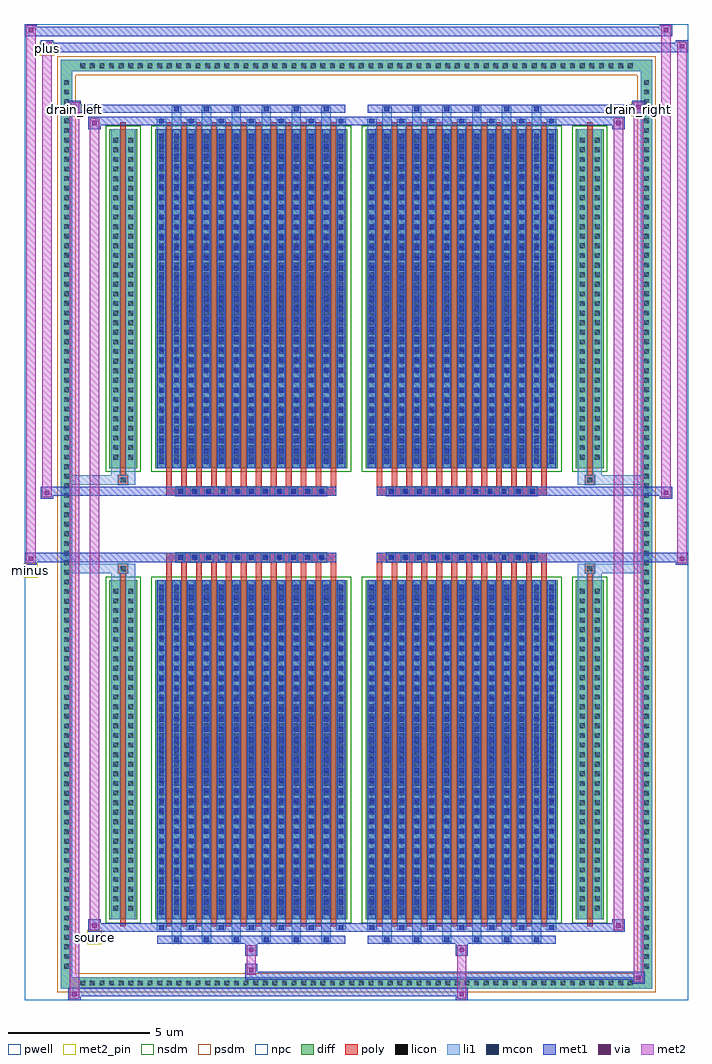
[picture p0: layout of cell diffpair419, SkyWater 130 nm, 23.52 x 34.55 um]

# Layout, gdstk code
import gdstk
lib = gdstk.Library(unit=1e-6, precision=5e-09)
def R(c, l, rs):  # rectangles x0, y0, x1, y1
    for r in rs: c.add(gdstk.rectangle(r[:2], r[2:], *l))
def A(c, l, x, y, w, h, nx, ny, dx, dy):  # array of equal rectangles
    R(c, l, [(x+i*dx, y+j*dy, x+i*dx+w, y+j*dy+h) for i in range(nx) for j in range(ny)])
def P(c, l, *ps):  # polygons
    for p in ps: c.add(gdstk.Polygon(p, *l))
pwell = (64, 44)
diff = (65, 20)
poly = (66, 20)
licon = (66, 44)
li1 = (67, 20)
mcon = (67, 44)
met1 = (68, 20)
via = (68, 44)
met2_pin = (69, 16)
met2 = (69, 20)
nsdm = (93, 44)
psdm = (94, 20)
npc = (95, 20)

diffpair419 = lib.new_cell('diffpair419')
R(diffpair419, pwell, [(-11.74,-16.84,11.74,17.71), (-9.06,-15.03,-0.01,-0.805), (0.01,-15.03,9.06,-0.805), (-9.06,0.805,-0.01,15.03), (0.01,0.805,9.06,15.03)])
A(diffpair419, diff, -9.895, -16.44, 0.41, 0.41, 58, 2, 0.34, 32.47)
A(diffpair419, diff, -10.47, -15.845, 0.41, 0.41, 1, 93, 0, 0.34)
A(diffpair419, diff, 10.06, -15.845, 0.41, 0.41, 1, 93, 0, 0.34)
R(diffpair419, diff, [(-9.895,-16.44,9.895,-16.03), (-10.47,-15.845,-10.06,15.845), (10.06,-15.845,10.47,15.845), (-8.75,-13.985,-7.77,-1.985), (-7.13,-13.985,-0.32,-1.985), (0.32,-13.985,7.13,-1.985), (7.77,-13.985,8.75,-1.985), (-8.75,1.985,-7.77,13.985), (-7.13,1.985,-0.32,13.985), (0.32,1.985,7.13,13.985), (7.77,1.985,8.75,13.985), (-9.895,16.03,9.895,16.44)])
P(diffpair419, diff, [(10.47,16.44),(-10.47,16.44),(-10.47,-16.03),(-10.06,-16.03),(-10.06,16.03),(10.06,16.03),(10.06,-16.03),(-10.06,-16.03),(-10.47,-16.03),(-10.47,-16.44),(10.47,-16.44)])
A(diffpair419, poly, -6.74, -14.235, 0.2, 12.5, 12, 2, 0.53, 15.97)
A(diffpair419, poly, 0.71, -14.235, 0.2, 12.5, 12, 2, 0.53, 15.97)
A(diffpair419, poly, -6.74, -1.735, 0.2, 0.4, 12, 2, 0.53, 3.07)
A(diffpair419, poly, 0.71, -1.735, 0.2, 0.4, 12, 2, 0.53, 3.07)
A(diffpair419, poly, -6.39, -1.335, 0.33, 0.33, 11, 2, 0.5, 2.34)
A(diffpair419, poly, 1.06, -1.335, 0.33, 0.33, 11, 2, 0.5, 2.34)
R(diffpair419, poly, [(-8.36,-14.235,-8.16,-1.735), (8.16,-14.235,8.36,-1.735), (-8.425,-1.735,-8.095,-1.405), (-8.425,-1.735,-8.095,-1.405), (8.095,-1.735,8.425,-1.405), (8.095,-1.735,8.425,-1.405), (-6.74,-1.335,-0.71,-1.005), (0.71,-1.335,6.74,-1.005), (-6.74,1.005,-0.71,1.335), (0.71,1.005,6.74,1.335), (-8.425,1.405,-8.095,1.735), (-8.425,1.405,-8.095,1.735), (8.095,1.405,8.425,1.735), (8.095,1.405,8.425,1.735), (-8.36,1.735,-8.16,14.235), (8.16,1.735,8.36,14.235)])
A(diffpair419, licon, -9.775, -16.32, 0.17, 0.17, 58, 2, 0.34, 32.47)
A(diffpair419, licon, -10.35, -15.725, 0.17, 0.17, 1, 93, 0, 0.34)
A(diffpair419, licon, 10.18, -15.725, 0.17, 0.17, 1, 93, 0, 0.34)
A(diffpair419, licon, -8.61, -13.68, 0.17, 0.17, 1, 34, 0, 0.34)
A(diffpair419, licon, -8.08, -13.68, 0.17, 0.17, 1, 34, 0, 0.34)
A(diffpair419, licon, -6.99, -13.68, 0.17, 0.17, 13, 34, 0.53, 0.34)
A(diffpair419, licon, 0.46, -13.68, 0.17, 0.17, 13, 34, 0.53, 0.34)
A(diffpair419, licon, 7.91, -13.68, 0.17, 0.17, 1, 34, 0, 0.34)
A(diffpair419, licon, 8.44, -13.68, 0.17, 0.17, 1, 34, 0, 0.34)
A(diffpair419, licon, -6.31, -1.255, 0.17, 0.17, 11, 2, 0.5, 2.34)
A(diffpair419, licon, 1.14, -1.255, 0.17, 0.17, 11, 2, 0.5, 2.34)
A(diffpair419, licon, -8.61, 2.29, 0.17, 0.17, 1, 34, 0, 0.34)
A(diffpair419, licon, -8.08, 2.29, 0.17, 0.17, 1, 34, 0, 0.34)
A(diffpair419, licon, -6.99, 2.29, 0.17, 0.17, 13, 34, 0.53, 0.34)
A(diffpair419, licon, 0.46, 2.29, 0.17, 0.17, 13, 34, 0.53, 0.34)
A(diffpair419, licon, 7.91, 2.29, 0.17, 0.17, 1, 34, 0, 0.34)
A(diffpair419, licon, 8.44, 2.29, 0.17, 0.17, 1, 34, 0, 0.34)
R(diffpair419, licon, [(-8.345,-1.655,-8.175,-1.485), (8.175,-1.655,8.345,-1.485), (-8.345,1.485,-8.175,1.655), (8.175,1.485,8.345,1.655)])
A(diffpair419, li1, -9.855, -16.4, 0.33, 0.33, 58, 2, 0.34, 32.47)
A(diffpair419, li1, -10.43, -15.805, 0.33, 0.33, 1, 93, 0, 0.34)
A(diffpair419, li1, 10.1, -15.805, 0.33, 0.33, 1, 93, 0, 0.34)
A(diffpair419, li1, -6.54, -14.79, 0.33, 0.805, 6, 2, 1.06, 28.775)
A(diffpair419, li1, -6.46, -14.79, 0.17, 0.17, 6, 2, 1.06, 29.41)
A(diffpair419, li1, 0.91, -14.79, 0.33, 0.805, 6, 2, 1.06, 28.775)
A(diffpair419, li1, 0.99, -14.79, 0.17, 0.17, 6, 2, 1.06, 29.41)
A(diffpair419, li1, -7.07, -14.36, 0.33, 0.375, 7, 2, 1.06, 28.345)
A(diffpair419, li1, -6.99, -14.36, 0.17, 0.17, 7, 2, 1.06, 28.55)
A(diffpair419, li1, 0.38, -14.36, 0.33, 0.375, 7, 2, 1.06, 28.345)
A(diffpair419, li1, 0.46, -14.36, 0.17, 0.17, 7, 2, 1.06, 28.55)
A(diffpair419, li1, -7.07, -13.985, 0.33, 12, 13, 2, 0.53, 15.97)
A(diffpair419, li1, 0.38, -13.985, 0.33, 12, 13, 2, 0.53, 15.97)
A(diffpair419, li1, -6.99, -13.83, 0.17, 0.17, 13, 33, 0.53, 0.36)
A(diffpair419, li1, -6.99, -13.83, 0.17, 11.69, 13, 2, 0.53, 15.97)
A(diffpair419, li1, 0.46, -13.83, 0.17, 0.17, 13, 33, 0.53, 0.36)
A(diffpair419, li1, 0.46, -13.83, 0.17, 11.69, 13, 2, 0.53, 15.97)
A(diffpair419, li1, -8.69, -13.76, 0.33, 0.33, 1, 34, 0, 0.34)
A(diffpair419, li1, -8.16, -13.76, 0.33, 0.33, 1, 34, 0, 0.34)
A(diffpair419, li1, -7.07, -13.76, 0.33, 0.33, 13, 34, 0.53, 0.34)
A(diffpair419, li1, 0.38, -13.76, 0.33, 0.33, 13, 34, 0.53, 0.34)
A(diffpair419, li1, 7.83, -13.76, 0.33, 0.33, 1, 34, 0, 0.34)
A(diffpair419, li1, 8.36, -13.76, 0.33, 0.33, 1, 34, 0, 0.34)
A(diffpair419, li1, -6.39, -1.335, 0.33, 0.33, 11, 2, 0.5, 2.34)
A(diffpair419, li1, 1.06, -1.335, 0.33, 0.33, 11, 2, 0.5, 2.34)
A(diffpair419, li1, -6.99, 2.14, 0.17, 0.17, 13, 33, 0.53, 0.36)
A(diffpair419, li1, 0.46, 2.14, 0.17, 0.17, 13, 33, 0.53, 0.36)
A(diffpair419, li1, -8.69, 2.21, 0.33, 0.33, 1, 34, 0, 0.34)
A(diffpair419, li1, -8.16, 2.21, 0.33, 0.33, 1, 34, 0, 0.34)
A(diffpair419, li1, -7.07, 2.21, 0.33, 0.33, 13, 34, 0.53, 0.34)
A(diffpair419, li1, 0.38, 2.21, 0.33, 0.33, 13, 34, 0.53, 0.34)
A(diffpair419, li1, 7.83, 2.21, 0.33, 0.33, 1, 34, 0, 0.34)
A(diffpair419, li1, 8.36, 2.21, 0.33, 0.33, 1, 34, 0, 0.34)
R(diffpair419, li1, [(-10.47,-16.44,-10.06,-16.03), (-10.47,-16.44,-10.06,-16.03), (-10.06,-16.44,10.06,-16.03), (10.06,-16.44,10.47,-16.03), (10.06,-16.44,10.47,-16.03), (-10.47,-16.03,-10.06,16.03), (10.06,-16.03,10.47,16.03), (-8.69,-13.985,-8.36,-1.985), (-8.16,-13.985,-7.83,-1.985), (7.83,-13.985,8.16,-1.985), (8.36,-13.985,8.69,-1.985), (-8.69,-1.985,-8.36,-1.405), (-8.16,-1.985,-7.83,-1.405), (7.83,-1.985,8.16,-1.405), (8.36,-1.985,8.69,-1.405), (-10.47,-1.735,-8.425,-1.405), (-8.69,-1.735,-8.425,-1.405), (-8.425,-1.735,-8.095,-1.405), (-8.095,-1.735,-7.83,-1.405), (7.83,-1.735,8.095,-1.405), (8.095,-1.735,8.425,-1.405), (8.095,-1.735,10.47,-1.405), (8.425,-1.735,8.69,-1.405), (-10.47,1.405,-8.425,1.735), (-8.69,1.405,-8.425,1.735), (-8.69,1.405,-8.36,1.985), (-8.425,1.405,-8.095,1.735), (-8.16,1.405,-7.83,1.985), (-8.095,1.405,-7.83,1.735), (7.83,1.405,8.095,1.735), (7.83,1.405,8.16,1.985), (8.095,1.405,8.425,1.735), (8.095,1.405,10.47,1.735), (8.36,1.405,8.69,1.985), (8.425,1.405,8.69,1.735), (-8.69,1.985,-8.36,13.985), (-8.16,1.985,-7.83,13.985), (7.83,1.985,8.16,13.985), (8.36,1.985,8.69,13.985), (-10.47,16.03,-10.06,16.44), (-10.47,16.03,-10.06,16.44), (-10.06,16.03,10.06,16.44), (10.06,16.03,10.47,16.44), (10.06,16.03,10.47,16.44)])
A(diffpair419, mcon, -6.46, -14.79, 0.17, 0.17, 6, 2, 1.06, 29.41)
A(diffpair419, mcon, 0.99, -14.79, 0.17, 0.17, 6, 2, 1.06, 29.41)
A(diffpair419, mcon, -6.99, -14.36, 0.17, 0.17, 7, 2, 1.06, 28.55)
A(diffpair419, mcon, 0.46, -14.36, 0.17, 0.17, 7, 2, 1.06, 28.55)
A(diffpair419, mcon, -6.99, -13.83, 0.17, 0.17, 13, 33, 0.53, 0.36)
A(diffpair419, mcon, 0.46, -13.83, 0.17, 0.17, 13, 33, 0.53, 0.36)
A(diffpair419, mcon, -6.31, -1.255, 0.17, 0.17, 11, 2, 0.5, 2.34)
A(diffpair419, mcon, 1.14, -1.255, 0.17, 0.17, 11, 2, 0.5, 2.34)
A(diffpair419, mcon, -6.99, 2.14, 0.17, 0.17, 13, 33, 0.53, 0.36)
A(diffpair419, mcon, 0.46, 2.14, 0.17, 0.17, 13, 33, 0.53, 0.36)
A(diffpair419, met1, -6.52, -14.85, 0.29, 0.29, 6, 2, 1.06, 29.41)
A(diffpair419, met1, 0.93, -14.85, 0.29, 0.29, 6, 2, 1.06, 29.41)
A(diffpair419, met1, -7.05, -14.42, 0.29, 0.29, 7, 2, 1.06, 28.55)
A(diffpair419, met1, 0.4, -14.42, 0.29, 0.29, 7, 2, 1.06, 28.55)
A(diffpair419, met1, -7.05, -13.985, 0.29, 12, 13, 2, 0.53, 15.97)
A(diffpair419, met1, 0.4, -13.985, 0.29, 12, 13, 2, 0.53, 15.97)
A(diffpair419, met1, -7.05, -13.89, 0.29, 0.29, 13, 33, 0.53, 0.36)
A(diffpair419, met1, 0.4, -13.89, 0.29, 0.29, 13, 33, 0.53, 0.36)
A(diffpair419, met1, -6.37, -1.315, 0.29, 0.29, 11, 2, 0.5, 2.34)
A(diffpair419, met1, 1.08, -1.315, 0.29, 0.29, 11, 2, 0.5, 2.34)
A(diffpair419, met1, -7.05, 2.08, 0.29, 0.29, 13, 33, 0.53, 0.36)
A(diffpair419, met1, 0.4, 2.08, 0.29, 0.29, 13, 33, 0.53, 0.36)
R(diffpair419, met1, [(-10.2,-16.84,-9.77,-16.41), (3.51,-16.84,3.94,-16.41), (-10.2,-16.7,3.94,-16.41), (9.77,-16.27,10.2,-15.84), (-3.94,-16.13,10.2,-15.84), (-3.94,-15.99,-3.51,-15.56), (-3.94,-15.28,-3.51,-14.85), (3.51,-15.28,3.94,-14.85), (-7.05,-14.85,-0.4,-14.56), (0.4,-14.85,7.05,-14.56), (-9.49,-14.42,-9.06,-13.99), (-9.49,-14.42,-7.05,-14.13), (-7.05,-14.42,-0.4,-14.13), (-0.4,-14.42,0.4,-14.13), (0.4,-14.42,7.05,-14.13), (7.05,-14.42,9.49,-14.13), (9.06,-14.42,9.49,-13.99), (-11.74,-1.435,-11.31,-1.005), (11.31,-1.435,11.74,-1.005), (-11.74,-1.335,-0.71,-1.005), (-6.74,-1.335,-0.71,-1.005), (0.71,-1.335,6.74,-1.005), (0.71,-1.335,11.74,-1.005), (-11.17,0.905,-10.74,1.335), (10.74,0.905,11.17,1.335), (-11.17,1.005,-6.74,1.335), (-6.74,1.005,-0.71,1.335), (0.71,1.005,6.74,1.335), (6.74,1.005,11.17,1.335), (-9.49,13.99,-9.06,14.42), (9.06,13.99,9.49,14.42), (-9.49,14.13,-7.05,14.42), (-7.05,14.13,-0.4,14.42), (-0.4,14.13,0.4,14.42), (0.4,14.13,7.05,14.42), (7.05,14.13,9.49,14.42), (-10.2,14.56,-9.77,14.99), (-10.2,14.56,-7.05,14.85), (-7.05,14.56,-0.4,14.85), (0.4,14.56,7.05,14.85), (7.05,14.56,10.2,14.85), (9.77,14.56,10.2,14.99), (-11.17,16.71,-10.74,17.14), (-11.17,16.71,-9.06,17.04), (-9.06,16.71,9.06,17.04), (9.06,16.71,11.74,17.04), (11.31,16.71,11.74,17.14), (-11.74,17.28,-11.31,17.71), (-11.74,17.28,-9.06,17.61), (-9.06,17.28,9.06,17.61), (9.06,17.28,11.17,17.61), (10.74,17.28,11.17,17.71)])
R(diffpair419, via, [(-10.06,-16.7,-9.91,-16.55), (3.65,-16.7,3.8,-16.55), (9.91,-16.13,10.06,-15.98), (-3.8,-15.85,-3.65,-15.7), (-3.8,-15.14,-3.65,-14.99), (3.65,-15.14,3.8,-14.99), (-9.35,-14.28,-9.2,-14.13), (9.2,-14.28,9.35,-14.13), (-11.6,-1.295,-11.45,-1.145), (11.45,-1.295,11.6,-1.145), (-11.03,1.045,-10.88,1.195), (10.88,1.045,11.03,1.195), (-9.35,14.13,-9.2,14.28), (9.2,14.13,9.35,14.28), (-10.06,14.7,-9.91,14.85), (9.91,14.7,10.06,14.85), (-11.03,16.85,-10.88,17), (11.45,16.85,11.6,17), (-11.6,17.42,-11.45,17.57), (10.88,17.42,11.03,17.57)])
R(diffpair419, met2_pin, [(-9.525,-14.87,-9.025,-14.37), (-11.775,-1.885,-11.275,-1.385), (-10.235,14.44,-9.735,14.94), (9.735,14.44,10.235,14.94), (-11.205,16.59,-10.705,17.09)])
R(diffpair419, met2, [(-10.15,-16.79,-9.82,-16.46), (-10.15,-16.79,-9.82,14.94), (3.56,-16.79,3.89,-16.46), (3.56,-16.46,3.89,-15.23), (9.82,-16.22,10.15,-15.89), (9.82,-16.22,10.15,14.94), (-3.89,-15.94,-3.56,-15.61), (-3.89,-15.61,-3.56,-15.23), (-3.89,-15.23,-3.56,-14.9), (3.56,-15.23,3.89,-14.9), (-9.44,-14.37,-9.11,-14.04), (-9.44,-14.37,-9.11,14.37), (9.11,-14.37,9.44,-14.04), (9.11,-14.37,9.44,14.37), (-11.69,-1.385,-11.36,-1.055), (-11.69,-1.385,-11.36,17.66), (11.36,-1.385,11.69,-1.055), (11.36,-1.385,11.69,17.09), (-11.12,0.955,-10.79,1.285), (-11.12,0.955,-10.79,17.09), (10.79,0.955,11.12,1.285), (10.79,0.955,11.12,17.66), (-9.44,14.04,-9.11,14.37), (9.11,14.04,9.44,14.37), (-10.15,14.61,-9.82,14.94), (9.82,14.61,10.15,14.94), (-11.12,16.76,-10.79,17.09), (11.36,16.76,11.69,17.09), (-11.69,17.33,-11.36,17.66), (10.79,17.33,11.12,17.66)])
P(diffpair419, met2, [(11.69,-1.385),(11.69,-1.385),(11.69,-1.055),(11.69,-1.055)],
  [(11.69,16.76),(11.69,16.76),(11.69,17.09),(11.69,17.09)],
  [(-11.36,-1.385),(-11.36,-1.385),(-11.36,-1.055),(-11.36,-1.055)],
  [(-11.36,17.33),(-11.36,17.33),(-11.36,17.66),(-11.36,17.66)],
  [(11.12,0.955),(11.12,0.955),(11.12,1.285),(11.12,1.285)],
  [(11.12,17.33),(11.12,17.33),(11.12,17.66),(11.12,17.66)],
  [(-10.79,0.955),(-10.79,0.955),(-10.79,1.285),(-10.79,1.285)],
  [(-10.79,16.76),(-10.79,16.76),(-10.79,17.09),(-10.79,17.09)],
  [(-9.82,-16.79),(-9.82,-16.79),(-9.82,-16.46),(-9.82,-16.46)],
  [(-9.82,14.61),(-9.82,14.61),(-9.82,14.94),(-9.82,14.94)],
  [(10.15,-16.22),(10.15,-16.22),(10.15,-15.89),(10.15,-15.89)],
  [(10.15,14.61),(10.15,14.61),(10.15,14.94),(10.15,14.94)],
  [(-9.11,-14.37),(-9.11,-14.37),(-9.11,-14.04),(-9.11,-14.04)],
  [(-9.11,14.04),(-9.11,14.04),(-9.11,14.37),(-9.11,14.37)],
  [(9.44,-14.37),(9.44,-14.37),(9.44,-14.04),(9.44,-14.04)],
  [(9.44,14.04),(9.44,14.04),(9.44,14.37),(9.44,14.37)])
R(diffpair419, nsdm, [(-8.88,-14.115,-7.64,-1.855), (-7.26,-14.115,-0.19,-1.855), (0.19,-14.115,7.26,-1.855), (7.64,-14.115,8.88,-1.855), (-8.88,1.855,-7.64,14.115), (-7.26,1.855,-0.19,14.115), (0.19,1.855,7.26,14.115), (7.64,1.855,8.88,14.115)])
P(diffpair419, psdm, [(10.6,16.57),(-10.6,16.57),(-10.6,-15.9),(-9.93,-15.9),(-9.93,15.9),(9.93,15.9),(9.93,-15.9),(-9.93,-15.9),(-10.6,-15.9),(-10.6,-16.57),(10.6,-16.57)])
A(diffpair419, npc, -6.41, -1.355, 0.37, 0.37, 11, 2, 0.5, 2.34)
A(diffpair419, npc, 1.04, -1.355, 0.37, 0.37, 11, 2, 0.5, 2.34)
R(diffpair419, npc, [(-8.445,-1.755,-8.075,-1.385), (8.075,-1.755,8.445,-1.385), (-6.41,-1.355,-5.54,-0.985), (-6.41,-1.355,-5.54,-0.985), (-5.91,-1.355,-5.04,-0.985), (-5.91,-1.355,-5.04,-0.985), (-5.41,-1.355,-4.54,-0.985), (-5.41,-1.355,-4.54,-0.985), (-4.91,-1.355,-4.04,-0.985), (-4.91,-1.355,-4.04,-0.985), (-4.41,-1.355,-3.54,-0.985), (-4.41,-1.355,-3.54,-0.985), (-3.91,-1.355,-3.04,-0.985), (-3.91,-1.355,-3.04,-0.985), (-3.41,-1.355,-2.54,-0.985), (-3.41,-1.355,-2.54,-0.985), (-2.91,-1.355,-2.04,-0.985), (-2.91,-1.355,-2.04,-0.985), (-2.41,-1.355,-1.54,-0.985), (-2.41,-1.355,-1.54,-0.985), (-1.91,-1.355,-1.04,-0.985), (-1.91,-1.355,-1.04,-0.985), (1.04,-1.355,1.91,-0.985), (1.04,-1.355,1.91,-0.985), (1.54,-1.355,2.41,-0.985), (1.54,-1.355,2.41,-0.985), (2.04,-1.355,2.91,-0.985), (2.04,-1.355,2.91,-0.985), (2.54,-1.355,3.41,-0.985), (2.54,-1.355,3.41,-0.985), (3.04,-1.355,3.91,-0.985), (3.04,-1.355,3.91,-0.985), (3.54,-1.355,4.41,-0.985), (3.54,-1.355,4.41,-0.985), (4.04,-1.355,4.91,-0.985), (4.04,-1.355,4.91,-0.985), (4.54,-1.355,5.41,-0.985), (4.54,-1.355,5.41,-0.985), (5.04,-1.355,5.91,-0.985), (5.04,-1.355,5.91,-0.985), (5.54,-1.355,6.41,-0.985), (5.54,-1.355,6.41,-0.985), (-6.41,0.985,-5.54,1.355), (-6.41,0.985,-5.54,1.355), (-5.91,0.985,-5.04,1.355), (-5.91,0.985,-5.04,1.355), (-5.41,0.985,-4.54,1.355), (-5.41,0.985,-4.54,1.355), (-4.91,0.985,-4.04,1.355), (-4.91,0.985,-4.04,1.355), (-4.41,0.985,-3.54,1.355), (-4.41,0.985,-3.54,1.355), (-3.91,0.985,-3.04,1.355), (-3.91,0.985,-3.04,1.355), (-3.41,0.985,-2.54,1.355), (-3.41,0.985,-2.54,1.355), (-2.91,0.985,-2.04,1.355), (-2.91,0.985,-2.04,1.355), (-2.41,0.985,-1.54,1.355), (-2.41,0.985,-1.54,1.355), (-1.91,0.985,-1.04,1.355), (-1.91,0.985,-1.04,1.355), (1.04,0.985,1.91,1.355), (1.04,0.985,1.91,1.355), (1.54,0.985,2.41,1.355), (1.54,0.985,2.41,1.355), (2.04,0.985,2.91,1.355), (2.04,0.985,2.91,1.355), (2.54,0.985,3.41,1.355), (2.54,0.985,3.41,1.355), (3.04,0.985,3.91,1.355), (3.04,0.985,3.91,1.355), (3.54,0.985,4.41,1.355), (3.54,0.985,4.41,1.355), (4.04,0.985,4.91,1.355), (4.04,0.985,4.91,1.355), (4.54,0.985,5.41,1.355), (4.54,0.985,5.41,1.355), (5.04,0.985,5.91,1.355), (5.04,0.985,5.91,1.355), (5.54,0.985,6.41,1.355), (5.54,0.985,6.41,1.355), (-8.445,1.385,-8.075,1.755), (8.075,1.385,8.445,1.755)])
diffpair419.add(gdstk.Label('minus', (-11.525,-1.635), layer=69, texttype=5))
diffpair419.add(gdstk.Label('drain_right', (9.985,14.69), layer=69, texttype=5))
diffpair419.add(gdstk.Label('drain_left', (-9.985,14.69), layer=69, texttype=5))
diffpair419.add(gdstk.Label('source', (-9.275,-14.62), layer=69, texttype=5))
diffpair419.add(gdstk.Label('plus', (-10.955,16.84), layer=69, texttype=5))

lib.write_gds('diffpair419.gds')
